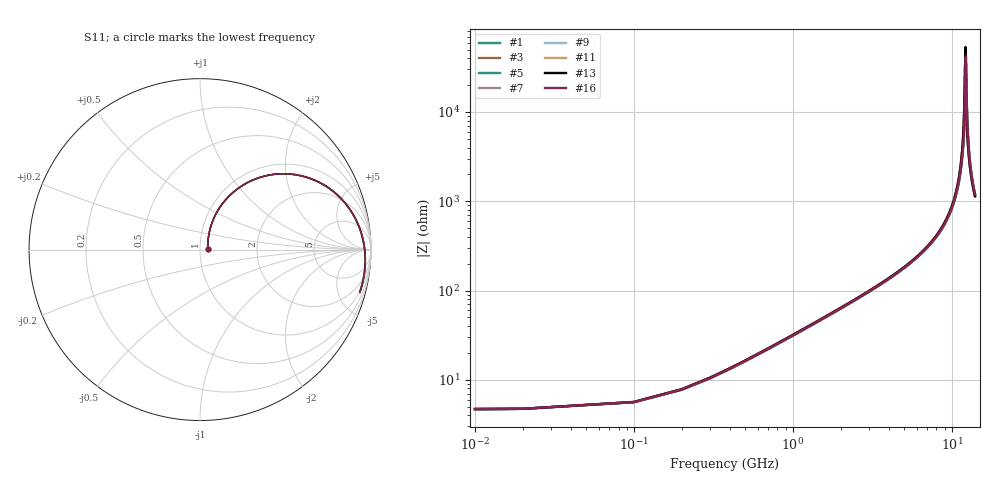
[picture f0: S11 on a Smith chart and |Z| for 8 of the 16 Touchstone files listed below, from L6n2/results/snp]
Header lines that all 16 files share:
! Created with skrf 2.2.0 (http://scikit-rf.org).
# GHz S DB R 50.0
! Port[1] = P1
! Port[2] = P2
!freq dBS11 angS11 dBS21 angS21 dBS12 angS12 dBS22 angS22
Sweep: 10 MHz to 14 GHz
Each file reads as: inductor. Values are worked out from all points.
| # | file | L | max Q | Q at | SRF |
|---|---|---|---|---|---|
| 1 | L6n2_margin100_air50_palace0181.s2p | 4.86 nH | 28.9 | 8 GHz | 12.2 GHz |
| 2 | L6n2_margin100_air50_palace0190.s2p | 4.86 nH | 662 | 10.9 GHz | 12.2 GHz |
| 3 | L6n2_margin200_air50_palace0181.s2p | 4.91 nH | 37 | 8.9 GHz | 12.2 GHz |
| 4 | L6n2_margin200_air50_palace0190.s2p | 4.91 nH | 439 | 11.6 GHz | 12.2 GHz |
| 5 | L6n2_margin400_air50_palace0181.s2p | 4.92 nH | 41.8 | 9.3 GHz | 12.2 GHz |
| 6 | L6n2_margin400_air50_palace0190.s2p | 4.92 nH | 231 | 12.1 GHz | 12.2 GHz |
| 7 | L6n2_margin400_air200_palace0181.s2p | 4.97 nH | 43.1 | 9.2 GHz | 12.1 GHz |
| 8 | L6n2_margin400_air200_palace0190.s2p | 4.97 nH | 55 | 9.9 GHz | 12.1 GHz |
| 9 | L6n2_margin400_air400_palace0181.s2p | 4.98 nH | 44.2 | 9.3 GHz | 12.1 GHz |
| 10 | L6n2_margin400_air400_palace0190.s2p | 4.98 nH | 49.6 | 9.6 GHz | 12.1 GHz |
| 11 | L6n2_margin400_air800_palace0181.s2p | 4.98 nH | 45.1 | 9.3 GHz | 12.1 GHz |
| 12 | L6n2_margin400_air800_palace0190.s2p | 4.98 nH | 47.1 | 9.4 GHz | 12.1 GHz |
| 13 | L6n2_margin400_airz400_palace0181.s2p | 4.97 nH | 43.5 | 9.3 GHz | 12.1 GHz |
| 14 | L6n2_margin400_airz400_palace0190.s2p | 4.97 nH | 66 | 10.4 GHz | 12.1 GHz |
| 15 | L6n2_margin800_air50_palace0181.s2p | 4.92 nH | 42.2 | 9.3 GHz | 12.2 GHz |
| 16 | L6n2_margin800_air50_palace0190.s2p | 4.92 nH | 125 | 11.6 GHz | 12.2 GHz |
